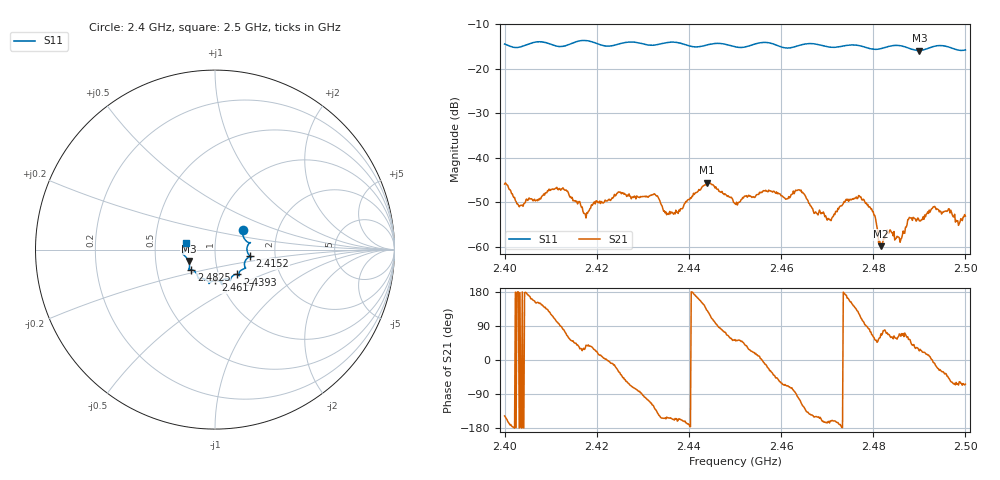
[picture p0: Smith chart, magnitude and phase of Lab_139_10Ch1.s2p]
# Hz S RI R 50
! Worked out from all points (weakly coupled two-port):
!   601 points, 2.4 GHz to 2.5 GHz, reference 50 ohm
!   highest |S21| = -45.55 dB at 2.4438 GHz (marker M1); lowest = -59.8 dB at 2.4817 GHz (marker M2)
!   lowest |S11| = -15.9 dB at 2.49 GHz (marker M3), VSWR 1.38, Z = 36.9 - j4.76 ohm
!   |S11| at or under -10 dB: start of sweep to end of sweep
!   S12 and S22 are empty: the file has one direction only
!   S11 on the Smith chart (normalised r, x): 2.4 GHz: 1.33, +0.30; 2.4152 GHz: 1.48, -0.11; 2.4393 GHz: 1.23, -0.35; 2.4617 GHz: 0.95, -0.33; 2.4825 GHz: 0.75, -0.17; 2.5 GHz: 0.72, +0.05
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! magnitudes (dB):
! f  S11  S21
! 2.4 GHz  -14.4  -45.9
! 2.4035 GHz  -15.1  -50.6
! 2.4108 GHz  -14.8  -47.0
! 2.4152 GHz  -14.1  -49.7
! 2.4167 GHz  -13.7  -51.1
! 2.4333 GHz  -14.5  -48.9
! 2.4352 GHz  -14.1  -52.8
! 2.4393 GHz  -14.6  -49.8
! 2.4438 GHz  -14.7  -45.6
! 2.45 GHz  -15.0  -50.3
! 2.4617 GHz  -15.3  -48.7
! 2.4642 GHz  -14.7  -47.4
! 2.4667 GHz  -14.3  -51.2
! 2.4705 GHz  -15.1  -53.9
! 2.4773 GHz  -14.9  -48.8
! 2.48 GHz  -15.6  -52.1
! 2.4817 GHz  -15.5  -59.8
! 2.4825 GHz  -15.2  -58.1
! 2.4833 GHz  -15.0  -56.9
! 2.49 GHz  -15.9  -54.1
! 2.4932 GHz  -15.0  -51.0
! 2.5 GHz  -15.8  -53.1
